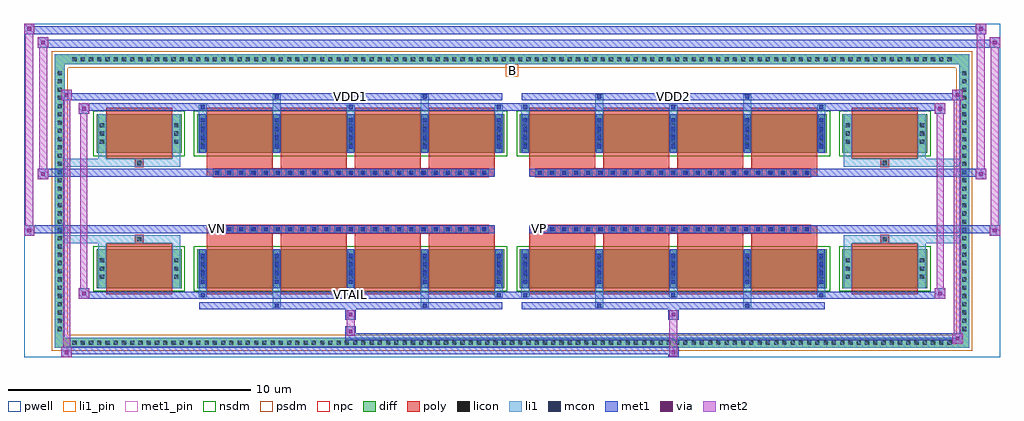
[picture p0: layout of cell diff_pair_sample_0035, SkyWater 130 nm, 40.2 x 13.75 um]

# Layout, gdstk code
import gdstk
lib = gdstk.Library(unit=1e-6, precision=5e-09)
def R(c, l, rs):  # rectangles x0, y0, x1, y1
    for r in rs: c.add(gdstk.rectangle(r[:2], r[2:], *l))
def A(c, l, x, y, w, h, nx, ny, dx, dy):  # array of equal rectangles
    R(c, l, [(x+i*dx, y+j*dy, x+i*dx+w, y+j*dy+h) for i in range(nx) for j in range(ny)])
def P(c, l, *ps):  # polygons
    for p in ps: c.add(gdstk.Polygon(p, *l))
pwell = (64, 44)
diff = (65, 20)
poly = (66, 20)
licon = (66, 44)
li1_pin = (67, 16)
li1 = (67, 20)
mcon = (67, 44)
met1_pin = (68, 16)
met1 = (68, 20)
via = (68, 44)
met2 = (69, 20)
nsdm = (93, 44)
psdm = (94, 20)
npc = (95, 20)

diff_pair_sample_0035 = lib.new_cell('diff_pair_sample_0035')
R(diff_pair_sample_0035, pwell, [(-20.1,-6.44,20.1,7.31), (-17.42,-4.63,-0.01,-0.795), (0.01,-4.63,17.42,-0.795), (-17.42,0.795,-0.01,4.63), (0.01,0.795,17.42,4.63)])
A(diff_pair_sample_0035, diff, -18.225, -6.04, 0.41, 0.41, 107, 2, 0.34, 11.67)
A(diff_pair_sample_0035, diff, -18.83, -5.475, 0.41, 0.41, 1, 32, 0, 0.34)
A(diff_pair_sample_0035, diff, 18.42, -5.475, 0.41, 0.41, 1, 32, 0, 0.34)
R(diff_pair_sample_0035, diff, [(-18.225,-6.04,18.225,-5.63), (-18.83,-5.475,-18.42,5.475), (18.42,-5.475,18.83,5.475), (-17.11,-3.585,-13.61,-1.985), (-12.97,-3.585,-0.32,-1.985), (0.32,-3.585,12.97,-1.985), (13.61,-3.585,17.11,-1.985), (-17.11,1.985,-13.61,3.585), (-12.97,1.985,-0.32,3.585), (0.32,1.985,12.97,3.585), (13.61,1.985,17.11,3.585), (-18.225,5.63,18.225,6.04)])
P(diff_pair_sample_0035, diff, [(18.83,6.04),(-18.83,6.04),(-18.83,-5.63),(-18.42,-5.63),(-18.42,5.63),(18.42,5.63),(18.42,-5.63),(-18.42,-5.63),(-18.83,-5.63),(-18.83,-6.04),(18.83,-6.04)])
A(diff_pair_sample_0035, poly, -12.58, -3.835, 2.72, 2.1, 4, 2, 3.05, 5.57)
A(diff_pair_sample_0035, poly, 0.71, -3.835, 2.72, 2.1, 4, 2, 3.05, 5.57)
A(diff_pair_sample_0035, poly, -12.58, -1.735, 2.72, 0.41, 4, 2, 3.05, 3.06)
A(diff_pair_sample_0035, poly, 0.71, -1.735, 2.72, 0.41, 4, 2, 3.05, 3.06)
A(diff_pair_sample_0035, poly, -12.31, -1.325, 0.33, 0.33, 23, 2, 0.5, 2.32)
A(diff_pair_sample_0035, poly, 0.98, -1.325, 0.33, 0.33, 23, 2, 0.5, 2.32)
R(diff_pair_sample_0035, poly, [(-16.72,-3.835,-14,-1.735), (14,-3.835,16.72,-1.735), (-15.525,-1.735,-15.195,-1.405), (-15.525,-1.735,-15.195,-1.405), (15.195,-1.735,15.525,-1.405), (15.195,-1.735,15.525,-1.405), (-12.58,-1.325,-0.71,-0.995), (0.71,-1.325,12.58,-0.995), (-12.58,0.995,-0.71,1.325), (0.71,0.995,12.58,1.325), (-15.525,1.405,-15.195,1.735), (-15.525,1.405,-15.195,1.735), (15.195,1.405,15.525,1.735), (15.195,1.405,15.525,1.735), (-16.72,1.735,-14,3.835), (14,1.735,16.72,3.835)])
A(diff_pair_sample_0035, licon, -18.105, -5.92, 0.17, 0.17, 107, 2, 0.34, 11.67)
A(diff_pair_sample_0035, licon, -18.71, -5.355, 0.17, 0.17, 1, 32, 0, 0.34)
A(diff_pair_sample_0035, licon, 18.54, -5.355, 0.17, 0.17, 1, 32, 0, 0.34)
A(diff_pair_sample_0035, licon, -16.97, -3.21, 0.17, 0.17, 1, 3, 0, 0.34)
A(diff_pair_sample_0035, licon, -13.92, -3.21, 0.17, 0.17, 1, 3, 0, 0.34)
A(diff_pair_sample_0035, licon, -12.83, -3.21, 0.17, 0.17, 5, 3, 3.05, 0.34)
A(diff_pair_sample_0035, licon, 0.46, -3.21, 0.17, 0.17, 5, 3, 3.05, 0.34)
A(diff_pair_sample_0035, licon, 13.75, -3.21, 0.17, 0.17, 1, 3, 0, 0.34)
A(diff_pair_sample_0035, licon, 16.8, -3.21, 0.17, 0.17, 1, 3, 0, 0.34)
A(diff_pair_sample_0035, licon, -12.23, -1.245, 0.17, 0.17, 23, 2, 0.5, 2.32)
A(diff_pair_sample_0035, licon, 1.06, -1.245, 0.17, 0.17, 23, 2, 0.5, 2.32)
A(diff_pair_sample_0035, licon, -16.97, 2.36, 0.17, 0.17, 1, 3, 0, 0.34)
A(diff_pair_sample_0035, licon, -13.92, 2.36, 0.17, 0.17, 1, 3, 0, 0.34)
A(diff_pair_sample_0035, licon, -12.83, 2.36, 0.17, 0.17, 5, 3, 3.05, 0.34)
A(diff_pair_sample_0035, licon, 0.46, 2.36, 0.17, 0.17, 5, 3, 3.05, 0.34)
A(diff_pair_sample_0035, licon, 13.75, 2.36, 0.17, 0.17, 1, 3, 0, 0.34)
A(diff_pair_sample_0035, licon, 16.8, 2.36, 0.17, 0.17, 1, 3, 0, 0.34)
R(diff_pair_sample_0035, licon, [(-15.445,-1.655,-15.275,-1.485), (15.275,-1.655,15.445,-1.485), (-15.445,1.485,-15.275,1.655), (15.275,1.485,15.445,1.655)])
R(diff_pair_sample_0035, li1_pin, [(-0.25,5.13,0.25,5.63)])
A(diff_pair_sample_0035, li1, -18.185, -6, 0.33, 0.33, 107, 2, 0.34, 11.67)
A(diff_pair_sample_0035, li1, -18.79, -5.435, 0.33, 0.33, 1, 32, 0, 0.34)
A(diff_pair_sample_0035, li1, 18.46, -5.435, 0.33, 0.33, 1, 32, 0, 0.34)
A(diff_pair_sample_0035, li1, -12.91, -3.96, 0.33, 0.375, 3, 2, 6.1, 7.545)
A(diff_pair_sample_0035, li1, -12.83, -3.96, 0.17, 0.17, 3, 2, 6.1, 7.75)
A(diff_pair_sample_0035, li1, 0.38, -3.96, 0.33, 0.375, 3, 2, 6.1, 7.545)
A(diff_pair_sample_0035, li1, 0.46, -3.96, 0.17, 0.17, 3, 2, 6.1, 7.75)
A(diff_pair_sample_0035, li1, -12.91, -3.585, 0.33, 1.6, 5, 2, 3.05, 5.57)
A(diff_pair_sample_0035, li1, 0.38, -3.585, 0.33, 1.6, 5, 2, 3.05, 5.57)
A(diff_pair_sample_0035, li1, -12.83, -3.41, 0.17, 0.17, 5, 4, 3.05, 0.36)
A(diff_pair_sample_0035, li1, -12.83, -3.41, 0.17, 1.25, 5, 2, 3.05, 5.57)
A(diff_pair_sample_0035, li1, 0.46, -3.41, 0.17, 0.17, 5, 4, 3.05, 0.36)
A(diff_pair_sample_0035, li1, 0.46, -3.41, 0.17, 1.25, 5, 2, 3.05, 5.57)
A(diff_pair_sample_0035, li1, -17.05, -3.29, 0.33, 0.33, 1, 3, 0, 0.34)
A(diff_pair_sample_0035, li1, -14, -3.29, 0.33, 0.33, 1, 3, 0, 0.34)
A(diff_pair_sample_0035, li1, -12.91, -3.29, 0.33, 0.33, 5, 3, 3.05, 0.34)
A(diff_pair_sample_0035, li1, 0.38, -3.29, 0.33, 0.33, 5, 3, 3.05, 0.34)
A(diff_pair_sample_0035, li1, 13.67, -3.29, 0.33, 0.33, 1, 3, 0, 0.34)
A(diff_pair_sample_0035, li1, 16.72, -3.29, 0.33, 0.33, 1, 3, 0, 0.34)
A(diff_pair_sample_0035, li1, -12.31, -1.325, 0.33, 0.33, 23, 2, 0.5, 2.32)
A(diff_pair_sample_0035, li1, 0.98, -1.325, 0.33, 0.33, 23, 2, 0.5, 2.32)
A(diff_pair_sample_0035, li1, -12.83, 2.16, 0.17, 0.17, 5, 4, 3.05, 0.36)
A(diff_pair_sample_0035, li1, 0.46, 2.16, 0.17, 0.17, 5, 4, 3.05, 0.36)
A(diff_pair_sample_0035, li1, -17.05, 2.28, 0.33, 0.33, 1, 3, 0, 0.34)
A(diff_pair_sample_0035, li1, -14, 2.28, 0.33, 0.33, 1, 3, 0, 0.34)
A(diff_pair_sample_0035, li1, -12.91, 2.28, 0.33, 0.33, 5, 3, 3.05, 0.34)
A(diff_pair_sample_0035, li1, 0.38, 2.28, 0.33, 0.33, 5, 3, 3.05, 0.34)
A(diff_pair_sample_0035, li1, 13.67, 2.28, 0.33, 0.33, 1, 3, 0, 0.34)
A(diff_pair_sample_0035, li1, 16.72, 2.28, 0.33, 0.33, 1, 3, 0, 0.34)
R(diff_pair_sample_0035, li1, [(-18.83,-6.04,-18.42,-5.63), (-18.83,-6.04,-18.42,-5.63), (-18.42,-6.04,18.42,-5.63), (18.42,-6.04,18.83,-5.63), (18.42,-6.04,18.83,-5.63), (-18.83,-5.63,-18.42,5.63), (18.42,-5.63,18.83,5.63), (-9.86,-4.39,-9.53,-3.585), (-9.78,-4.39,-9.61,-4.22), (-3.76,-4.39,-3.43,-3.585), (-3.68,-4.39,-3.51,-4.22), (3.43,-4.39,3.76,-3.585), (3.51,-4.39,3.68,-4.22), (9.53,-4.39,9.86,-3.585), (9.61,-4.39,9.78,-4.22), (-17.05,-3.585,-16.72,-1.985), (-14,-3.585,-13.67,-1.985), (13.67,-3.585,14,-1.985), (16.72,-3.585,17.05,-1.985), (-17.05,-1.985,-16.72,-1.405), (-14,-1.985,-13.67,-1.405), (13.67,-1.985,14,-1.405), (16.72,-1.985,17.05,-1.405), (-18.83,-1.735,-15.525,-1.405), (-17.05,-1.735,-15.525,-1.405), (-15.525,-1.735,-15.195,-1.405), (-15.195,-1.735,-13.67,-1.405), (13.67,-1.735,15.195,-1.405), (15.195,-1.735,15.525,-1.405), (15.195,-1.735,18.83,-1.405), (15.525,-1.735,17.05,-1.405), (-18.83,1.405,-15.525,1.735), (-17.05,1.405,-15.525,1.735), (-17.05,1.405,-16.72,1.985), (-15.525,1.405,-15.195,1.735), (-15.195,1.405,-13.67,1.735), (-14,1.405,-13.67,1.985), (13.67,1.405,15.195,1.735), (13.67,1.405,14,1.985), (15.195,1.405,15.525,1.735), (15.195,1.405,18.83,1.735), (15.525,1.405,17.05,1.735), (16.72,1.405,17.05,1.985), (-17.05,1.985,-16.72,3.585), (-14,1.985,-13.67,3.585), (13.67,1.985,14,3.585), (16.72,1.985,17.05,3.585), (-9.86,3.585,-9.53,4.39), (-3.76,3.585,-3.43,4.39), (3.43,3.585,3.76,4.39), (9.53,3.585,9.86,4.39), (-9.78,4.22,-9.61,4.39), (-3.68,4.22,-3.51,4.39), (3.51,4.22,3.68,4.39), (9.61,4.22,9.78,4.39), (-18.83,5.63,-18.42,6.04), (-18.83,5.63,-18.42,6.04), (-18.42,5.63,18.42,6.04), (18.42,5.63,18.83,6.04), (18.42,5.63,18.83,6.04)])
A(diff_pair_sample_0035, mcon, -12.83, -3.96, 0.17, 0.17, 3, 2, 6.1, 7.75)
A(diff_pair_sample_0035, mcon, 0.46, -3.96, 0.17, 0.17, 3, 2, 6.1, 7.75)
A(diff_pair_sample_0035, mcon, -12.83, -3.41, 0.17, 0.17, 5, 4, 3.05, 0.36)
A(diff_pair_sample_0035, mcon, 0.46, -3.41, 0.17, 0.17, 5, 4, 3.05, 0.36)
A(diff_pair_sample_0035, mcon, -12.23, -1.245, 0.17, 0.17, 23, 2, 0.5, 2.32)
A(diff_pair_sample_0035, mcon, 1.06, -1.245, 0.17, 0.17, 23, 2, 0.5, 2.32)
A(diff_pair_sample_0035, mcon, -12.83, 2.16, 0.17, 0.17, 5, 4, 3.05, 0.36)
A(diff_pair_sample_0035, mcon, 0.46, 2.16, 0.17, 0.17, 5, 4, 3.05, 0.36)
R(diff_pair_sample_0035, mcon, [(-9.78,-4.39,-9.61,-4.22), (-3.68,-4.39,-3.51,-4.22), (3.51,-4.39,3.68,-4.22), (9.61,-4.39,9.78,-4.22), (-9.78,4.22,-9.61,4.39), (-3.68,4.22,-3.51,4.39), (3.51,4.22,3.68,4.39), (9.61,4.22,9.78,4.39)])
R(diff_pair_sample_0035, met1_pin, [(-6.78,-4,-6.51,-3.73), (-12.28,-1.285,-12.01,-1.015), (1.01,-1.285,1.28,-1.015), (-6.78,4.18,-6.51,4.45), (6.51,4.18,6.78,4.45)])
A(diff_pair_sample_0035, met1, -12.89, -4.02, 0.29, 0.29, 3, 2, 6.1, 7.75)
A(diff_pair_sample_0035, met1, 0.4, -4.02, 0.29, 0.29, 3, 2, 6.1, 7.75)
A(diff_pair_sample_0035, met1, -12.89, -3.585, 0.29, 1.6, 5, 2, 3.05, 5.57)
A(diff_pair_sample_0035, met1, 0.4, -3.585, 0.29, 1.6, 5, 2, 3.05, 5.57)
A(diff_pair_sample_0035, met1, -12.89, -3.47, 0.29, 0.29, 5, 4, 3.05, 0.36)
A(diff_pair_sample_0035, met1, 0.4, -3.47, 0.29, 0.29, 5, 4, 3.05, 0.36)
A(diff_pair_sample_0035, met1, -12.29, -1.305, 0.29, 0.29, 23, 2, 0.5, 2.32)
A(diff_pair_sample_0035, met1, 1, -1.305, 0.29, 0.29, 23, 2, 0.5, 2.32)
A(diff_pair_sample_0035, met1, -12.89, 2.1, 0.29, 0.29, 5, 4, 3.05, 0.36)
A(diff_pair_sample_0035, met1, 0.4, 2.1, 0.29, 0.29, 5, 4, 3.05, 0.36)
R(diff_pair_sample_0035, met1, [(-18.56,-6.44,-18.13,-6.01), (6.43,-6.44,6.86,-6.01), (-18.56,-6.3,6.86,-6.01), (18.13,-5.87,18.56,-5.44), (-6.86,-5.73,18.56,-5.44), (-6.86,-5.59,-6.43,-5.16), (-6.86,-4.88,-6.43,-4.45), (6.43,-4.88,6.86,-4.45), (-12.89,-4.45,-0.4,-4.16), (-9.84,-4.45,-9.55,-4.16), (-3.74,-4.45,-3.45,-4.16), (0.4,-4.45,12.89,-4.16), (3.45,-4.45,3.74,-4.16), (9.55,-4.45,9.84,-4.16), (-17.85,-4.02,-17.42,-3.59), (-17.85,-4.02,-12.89,-3.73), (-12.89,-4.02,-0.4,-3.73), (-0.4,-4.02,0.4,-3.73), (0.4,-4.02,12.89,-3.73), (12.89,-4.02,17.85,-3.73), (17.42,-4.02,17.85,-3.59), (-20.1,-1.425,-19.67,-0.995), (19.67,-1.425,20.1,-0.995), (-20.1,-1.325,-0.71,-0.995), (-12.58,-1.325,-0.71,-0.995), (0.71,-1.325,12.58,-0.995), (0.71,-1.325,20.1,-0.995), (-19.53,0.895,-19.1,1.325), (19.1,0.895,19.53,1.325), (-19.53,0.995,-12.58,1.325), (-12.58,0.995,-0.71,1.325), (0.71,0.995,12.58,1.325), (12.58,0.995,19.53,1.325), (-17.85,3.59,-17.42,4.02), (17.42,3.59,17.85,4.02), (-17.85,3.73,-12.89,4.02), (-12.89,3.73,-0.4,4.02), (-0.4,3.73,0.4,4.02), (0.4,3.73,12.89,4.02), (12.89,3.73,17.85,4.02), (-18.56,4.16,-18.13,4.59), (-18.56,4.16,-12.89,4.45), (-12.89,4.16,-0.4,4.45), (-9.84,4.16,-9.55,4.45), (-3.74,4.16,-3.45,4.45), (0.4,4.16,12.89,4.45), (3.45,4.16,3.74,4.45), (9.55,4.16,9.84,4.45), (12.89,4.16,18.56,4.45), (18.13,4.16,18.56,4.59), (-19.53,6.31,-19.1,6.74), (-19.53,6.31,-17.42,6.64), (-17.42,6.31,17.42,6.64), (17.42,6.31,20.1,6.64), (19.67,6.31,20.1,6.74), (-20.1,6.88,-19.67,7.31), (-20.1,6.88,-17.42,7.21), (-17.42,6.88,17.42,7.21), (17.42,6.88,19.53,7.21), (19.1,6.88,19.53,7.31)])
R(diff_pair_sample_0035, via, [(-18.42,-6.3,-18.27,-6.15), (6.57,-6.3,6.72,-6.15), (18.27,-5.73,18.42,-5.58), (-6.72,-5.45,-6.57,-5.3), (-6.72,-4.74,-6.57,-4.59), (6.57,-4.74,6.72,-4.59), (-17.71,-3.88,-17.56,-3.73), (17.56,-3.88,17.71,-3.73), (-19.96,-1.285,-19.81,-1.135), (19.81,-1.285,19.96,-1.135), (-19.39,1.035,-19.24,1.185), (19.24,1.035,19.39,1.185), (-17.71,3.73,-17.56,3.88), (17.56,3.73,17.71,3.88), (-18.42,4.3,-18.27,4.45), (18.27,4.3,18.42,4.45), (-19.39,6.45,-19.24,6.6), (19.81,6.45,19.96,6.6), (-19.96,7.02,-19.81,7.17), (19.24,7.02,19.39,7.17)])
R(diff_pair_sample_0035, met2, [(-18.56,-6.44,-18.13,-6.01), (-18.49,-6.44,-18.2,4.59), (-18.2,-6.44,-18.13,-6.01), (-18.51,-6.39,-18.18,-6.06), (6.48,-6.39,6.81,-6.06), (6.48,-6.06,6.81,-4.83), (18.13,-5.87,18.56,-5.44), (18.2,-5.87,18.49,4.59), (18.49,-5.87,18.56,-5.44), (18.18,-5.82,18.51,-5.49), (-6.81,-5.54,-6.48,-5.21), (-6.81,-5.21,-6.48,-4.83), (-6.81,-4.83,-6.48,-4.5), (6.48,-4.83,6.81,-4.5), (-17.85,-4.02,-17.42,-3.59), (-17.78,-4.02,-17.49,4.02), (-17.49,-4.02,-17.42,-3.59), (17.42,-4.02,17.85,-3.59), (17.49,-4.02,17.78,4.02), (17.78,-4.02,17.85,-3.59), (-17.8,-3.97,-17.47,-3.64), (17.47,-3.97,17.8,-3.64), (-20.1,-1.425,-19.67,-0.995), (-20.05,-1.425,-19.72,7.31), (-19.72,-1.425,-19.67,-0.995), (19.67,-1.425,20.1,-0.995), (19.72,-1.425,20.05,6.74), (20.05,-1.425,20.1,-0.995), (-20.05,-1.375,-19.72,-1.045), (19.72,-1.375,20.05,-1.045), (-19.53,0.895,-19.1,1.325), (-19.48,0.895,-19.15,6.74), (-19.15,0.895,-19.1,1.325), (19.1,0.895,19.53,1.325), (19.15,0.895,19.48,7.31), (19.48,0.895,19.53,1.325), (-19.48,0.945,-19.15,1.275), (19.15,0.945,19.48,1.275), (-17.85,3.59,-17.42,4.02), (-17.49,3.59,-17.42,4.02), (17.42,3.59,17.85,4.02), (17.78,3.59,17.85,4.02), (-17.8,3.64,-17.47,3.97), (17.47,3.64,17.8,3.97), (-18.56,4.16,-18.13,4.59), (-18.2,4.16,-18.13,4.59), (18.13,4.16,18.56,4.59), (18.49,4.16,18.56,4.59), (-18.51,4.21,-18.18,4.54), (18.18,4.21,18.51,4.54), (-19.53,6.31,-19.1,6.74), (-19.15,6.31,-19.1,6.74), (19.67,6.31,20.1,6.74), (20.05,6.31,20.1,6.74), (-19.48,6.36,-19.15,6.69), (19.72,6.36,20.05,6.69), (-20.1,6.88,-19.67,7.31), (-19.72,6.88,-19.67,7.31), (19.1,6.88,19.53,7.31), (19.48,6.88,19.53,7.31), (-20.05,6.93,-19.72,7.26), (19.15,6.93,19.48,7.26)])
R(diff_pair_sample_0035, nsdm, [(-17.24,-3.715,-13.48,-1.855), (-13.1,-3.715,-0.19,-1.855), (0.19,-3.715,13.1,-1.855), (13.48,-3.715,17.24,-1.855), (-17.24,1.855,-13.48,3.715), (-13.1,1.855,-0.19,3.715), (0.19,1.855,13.1,3.715), (13.48,1.855,17.24,3.715)])
P(diff_pair_sample_0035, psdm, [(18.96,6.17),(-18.96,6.17),(-18.96,-5.5),(-18.29,-5.5),(-18.29,5.5),(18.29,5.5),(18.29,-5.5),(-18.29,-5.5),(-18.96,-5.5),(-18.96,-6.17),(18.96,-6.17)])
A(diff_pair_sample_0035, npc, -12.33, -1.345, 0.37, 0.37, 23, 2, 0.5, 2.32)
A(diff_pair_sample_0035, npc, 0.96, -1.345, 0.37, 0.37, 23, 2, 0.5, 2.32)
R(diff_pair_sample_0035, npc, [(-15.545,-1.755,-15.175,-1.385), (15.175,-1.755,15.545,-1.385), (-12.33,-1.345,-11.46,-0.975), (-12.33,-1.345,-11.46,-0.975), (-11.83,-1.345,-10.96,-0.975), (-11.83,-1.345,-10.96,-0.975), (-11.33,-1.345,-10.46,-0.975), (-11.33,-1.345,-10.46,-0.975), (-10.83,-1.345,-9.96,-0.975), (-10.83,-1.345,-9.96,-0.975), (-10.33,-1.345,-9.46,-0.975), (-10.33,-1.345,-9.46,-0.975), (-9.83,-1.345,-8.96,-0.975), (-9.83,-1.345,-8.96,-0.975), (-9.33,-1.345,-8.46,-0.975), (-9.33,-1.345,-8.46,-0.975), (-8.83,-1.345,-7.96,-0.975), (-8.83,-1.345,-7.96,-0.975), (-8.33,-1.345,-7.46,-0.975), (-8.33,-1.345,-7.46,-0.975), (-7.83,-1.345,-6.96,-0.975), (-7.83,-1.345,-6.96,-0.975), (-7.33,-1.345,-6.46,-0.975), (-7.33,-1.345,-6.46,-0.975), (-6.83,-1.345,-5.96,-0.975), (-6.83,-1.345,-5.96,-0.975), (-6.33,-1.345,-5.46,-0.975), (-6.33,-1.345,-5.46,-0.975), (-5.83,-1.345,-4.96,-0.975), (-5.83,-1.345,-4.96,-0.975), (-5.33,-1.345,-4.46,-0.975), (-5.33,-1.345,-4.46,-0.975), (-4.83,-1.345,-3.96,-0.975), (-4.83,-1.345,-3.96,-0.975), (-4.33,-1.345,-3.46,-0.975), (-4.33,-1.345,-3.46,-0.975), (-3.83,-1.345,-2.96,-0.975), (-3.83,-1.345,-2.96,-0.975), (-3.33,-1.345,-2.46,-0.975), (-3.33,-1.345,-2.46,-0.975), (-2.83,-1.345,-1.96,-0.975), (-2.83,-1.345,-1.96,-0.975), (-2.33,-1.345,-1.46,-0.975), (-2.33,-1.345,-1.46,-0.975), (-1.83,-1.345,-0.96,-0.975), (-1.83,-1.345,-0.96,-0.975), (0.96,-1.345,1.83,-0.975), (0.96,-1.345,1.83,-0.975), (1.46,-1.345,2.33,-0.975), (1.46,-1.345,2.33,-0.975), (1.96,-1.345,2.83,-0.975), (1.96,-1.345,2.83,-0.975), (2.46,-1.345,3.33,-0.975), (2.46,-1.345,3.33,-0.975), (2.96,-1.345,3.83,-0.975), (2.96,-1.345,3.83,-0.975), (3.46,-1.345,4.33,-0.975), (3.46,-1.345,4.33,-0.975), (3.96,-1.345,4.83,-0.975), (3.96,-1.345,4.83,-0.975), (4.46,-1.345,5.33,-0.975), (4.46,-1.345,5.33,-0.975), (4.96,-1.345,5.83,-0.975), (4.96,-1.345,5.83,-0.975), (5.46,-1.345,6.33,-0.975), (5.46,-1.345,6.33,-0.975), (5.96,-1.345,6.83,-0.975), (5.96,-1.345,6.83,-0.975), (6.46,-1.345,7.33,-0.975), (6.46,-1.345,7.33,-0.975), (6.96,-1.345,7.83,-0.975), (6.96,-1.345,7.83,-0.975), (7.46,-1.345,8.33,-0.975), (7.46,-1.345,8.33,-0.975), (7.96,-1.345,8.83,-0.975), (7.96,-1.345,8.83,-0.975), (8.46,-1.345,9.33,-0.975), (8.46,-1.345,9.33,-0.975), (8.96,-1.345,9.83,-0.975), (8.96,-1.345,9.83,-0.975), (9.46,-1.345,10.33,-0.975), (9.46,-1.345,10.33,-0.975), (9.96,-1.345,10.83,-0.975), (9.96,-1.345,10.83,-0.975), (10.46,-1.345,11.33,-0.975), (10.46,-1.345,11.33,-0.975), (10.96,-1.345,11.83,-0.975), (10.96,-1.345,11.83,-0.975), (11.46,-1.345,12.33,-0.975), (11.46,-1.345,12.33,-0.975), (-12.33,0.975,-11.46,1.345), (-12.33,0.975,-11.46,1.345), (-11.83,0.975,-10.96,1.345), (-11.83,0.975,-10.96,1.345), (-11.33,0.975,-10.46,1.345), (-11.33,0.975,-10.46,1.345), (-10.83,0.975,-9.96,1.345), (-10.83,0.975,-9.96,1.345), (-10.33,0.975,-9.46,1.345), (-10.33,0.975,-9.46,1.345), (-9.83,0.975,-8.96,1.345), (-9.83,0.975,-8.96,1.345), (-9.33,0.975,-8.46,1.345), (-9.33,0.975,-8.46,1.345), (-8.83,0.975,-7.96,1.345), (-8.83,0.975,-7.96,1.345), (-8.33,0.975,-7.46,1.345), (-8.33,0.975,-7.46,1.345), (-7.83,0.975,-6.96,1.345), (-7.83,0.975,-6.96,1.345), (-7.33,0.975,-6.46,1.345), (-7.33,0.975,-6.46,1.345), (-6.83,0.975,-5.96,1.345), (-6.83,0.975,-5.96,1.345), (-6.33,0.975,-5.46,1.345), (-6.33,0.975,-5.46,1.345), (-5.83,0.975,-4.96,1.345), (-5.83,0.975,-4.96,1.345), (-5.33,0.975,-4.46,1.345), (-5.33,0.975,-4.46,1.345), (-4.83,0.975,-3.96,1.345), (-4.83,0.975,-3.96,1.345), (-4.33,0.975,-3.46,1.345), (-4.33,0.975,-3.46,1.345), (-3.83,0.975,-2.96,1.345), (-3.83,0.975,-2.96,1.345), (-3.33,0.975,-2.46,1.345), (-3.33,0.975,-2.46,1.345), (-2.83,0.975,-1.96,1.345), (-2.83,0.975,-1.96,1.345), (-2.33,0.975,-1.46,1.345), (-2.33,0.975,-1.46,1.345), (-1.83,0.975,-0.96,1.345), (-1.83,0.975,-0.96,1.345), (0.96,0.975,1.83,1.345), (0.96,0.975,1.83,1.345), (1.46,0.975,2.33,1.345), (1.46,0.975,2.33,1.345), (1.96,0.975,2.83,1.345), (1.96,0.975,2.83,1.345), (2.46,0.975,3.33,1.345), (2.46,0.975,3.33,1.345), (2.96,0.975,3.83,1.345), (2.96,0.975,3.83,1.345), (3.46,0.975,4.33,1.345), (3.46,0.975,4.33,1.345), (3.96,0.975,4.83,1.345), (3.96,0.975,4.83,1.345), (4.46,0.975,5.33,1.345), (4.46,0.975,5.33,1.345), (4.96,0.975,5.83,1.345), (4.96,0.975,5.83,1.345), (5.46,0.975,6.33,1.345), (5.46,0.975,6.33,1.345), (5.96,0.975,6.83,1.345), (5.96,0.975,6.83,1.345), (6.46,0.975,7.33,1.345), (6.46,0.975,7.33,1.345), (6.96,0.975,7.83,1.345), (6.96,0.975,7.83,1.345), (7.46,0.975,8.33,1.345), (7.46,0.975,8.33,1.345), (7.96,0.975,8.83,1.345), (7.96,0.975,8.83,1.345), (8.46,0.975,9.33,1.345), (8.46,0.975,9.33,1.345), (8.96,0.975,9.83,1.345), (8.96,0.975,9.83,1.345), (9.46,0.975,10.33,1.345), (9.46,0.975,10.33,1.345), (9.96,0.975,10.83,1.345), (9.96,0.975,10.83,1.345), (10.46,0.975,11.33,1.345), (10.46,0.975,11.33,1.345), (10.96,0.975,11.83,1.345), (10.96,0.975,11.83,1.345), (11.46,0.975,12.33,1.345), (11.46,0.975,12.33,1.345), (-15.545,1.385,-15.175,1.755), (15.175,1.385,15.545,1.755)])
diff_pair_sample_0035.add(gdstk.Label('VTAIL', (-6.645,-3.865), layer=68, texttype=5))
diff_pair_sample_0035.add(gdstk.Label('VN', (-12.145,-1.15), layer=68, texttype=5))
diff_pair_sample_0035.add(gdstk.Label('VP', (1.145,-1.15), layer=68, texttype=5))
diff_pair_sample_0035.add(gdstk.Label('B', (0,5.38), layer=67, texttype=5))
diff_pair_sample_0035.add(gdstk.Label('VDD2', (6.645,4.315), layer=68, texttype=5))
diff_pair_sample_0035.add(gdstk.Label('VDD1', (-6.645,4.315), layer=68, texttype=5))

lib.write_gds('diff_pair_sample_0035.gds')
